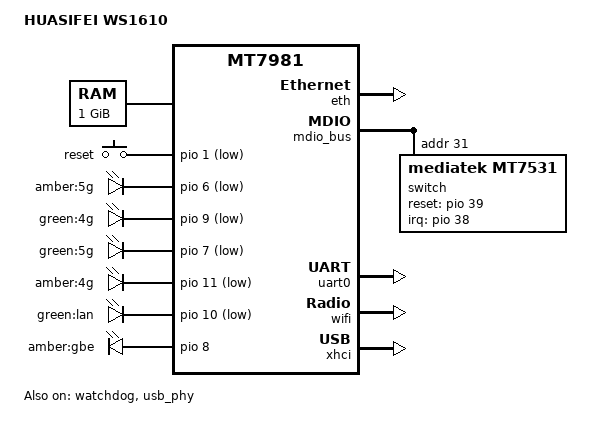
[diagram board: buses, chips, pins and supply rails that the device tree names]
/dts-v1/;

#include <dt-bindings/gpio/gpio.h>
#include <dt-bindings/input/input.h>

#include "mt7981.dtsi"

/ {
	model = "HUASIFEI WS1610";
	compatible = "huasifei,ws1610", "mediatek,mt7981";

	aliases {
		serial0 = &uart0;
		led-boot = &led_status_lan;
		led-failsafe = &led_status_lan;
		led-running = &led_status_lan;
		led-upgrade = &led_status_lan;
	};

	memory@40000000 {
		reg = <0 0x40000000 0 0x40000000>;
	};
	
	
	chosen {
		stdout-path = "serial0:115200n8";
	};

	gpio-keys {
		compatible = "gpio-keys";

		reset {
			label = "reset";
			linux,code = <KEY_RESTART>;
			gpios = <&pio 1 GPIO_ACTIVE_LOW>;
		};
		
	};

	leds {
		compatible = "gpio-leds";

		led_status_red: red {
			label = "amber:5g";
			gpios = <&pio 6 GPIO_ACTIVE_LOW>;
		};

		led_status_green: green {
			label = "green:4g";
			gpios = <&pio 9 GPIO_ACTIVE_LOW>;
		};
		
		led_status_blue: blue {
			label = "green:5g";
			gpios = <&pio 7 GPIO_ACTIVE_LOW>;
		};
		
		led_status_4g: 4g {
			label = "amber:4g";
			gpios = <&pio 11 GPIO_ACTIVE_LOW>;
		};
		
		led_status_lan: lan {
			label = "green:lan";
			gpios = <&pio 10 GPIO_ACTIVE_LOW>;
		};
		
		led_status_wan: wan {
			label = "amber:gbe";
			gpios = <&pio 8 GPIO_ACTIVE_HIGH>;
		};

	};
};

&eth {
	status = "okay";

	gmac0: mac@0 {
		compatible = "mediatek,eth-mac";
		reg = <0>;
		phy-mode = "2500base-x";
		nvmem-cell-names = "mac-address";
		nvmem-cells = <&macaddr_factory_004>;

		fixed-link {
			speed = <2500>;
			full-duplex;
			pause;
		};
	};
	
	gmac1: mac@1 {
		compatible = "mediatek,eth-mac";
		reg = <1>;
		phy-mode = "gmii";
		phy-handle = <&int_gbe_phy>;
	};
};

&mdio_bus {
	switch: switch@0 {
		compatible = "mediatek,mt7531";
		reg = <31>;
		reset-gpios = <&pio 39 GPIO_ACTIVE_HIGH>;
		interrupt-controller;
		#interrupt-cells = <1>;
		interrupt-parent = <&pio>;
		interrupts = <38 IRQ_TYPE_LEVEL_HIGH>;
	};
};

&pio {
	i2c0_pins: i2c0-pins {
		mux {
			function = "i2c";
			groups = "i2c0_1";
		};
	};

	spi0_flash_pins: spi0-pins {
		mux {
			function = "spi";
			groups = "spi0", "spi0_wp_hold";
		};

		conf-pu {
			pins = "SPI0_CS", "SPI0_HOLD", "SPI0_WP";
			drive-strength = <8>;
			mediatek,pull-up-adv = <0>;
		};

		conf-pd {
			pins = "SPI0_CLK", "SPI0_MOSI", "SPI0_MISO";
			drive-strength = <8>;
			mediatek,pull-down-adv = <0>;
		};
	};
};

&uart0 {
	status = "okay";
};

&watchdog {
	status = "okay";
};

&wifi {
	status = "okay";

	mediatek,mtd-eeprom = <&factory 0x0>;
};

&usb_phy {
	status = "okay";
};

&xhci {
	status = "okay";
};

&factory {
	compatible = "nvmem-cells";
	#address-cells = <1>;
	#size-cells = <1>;

	macaddr_factory_004: macaddr@004 {
		reg = <0x004 0x6>;
	};
};
 

